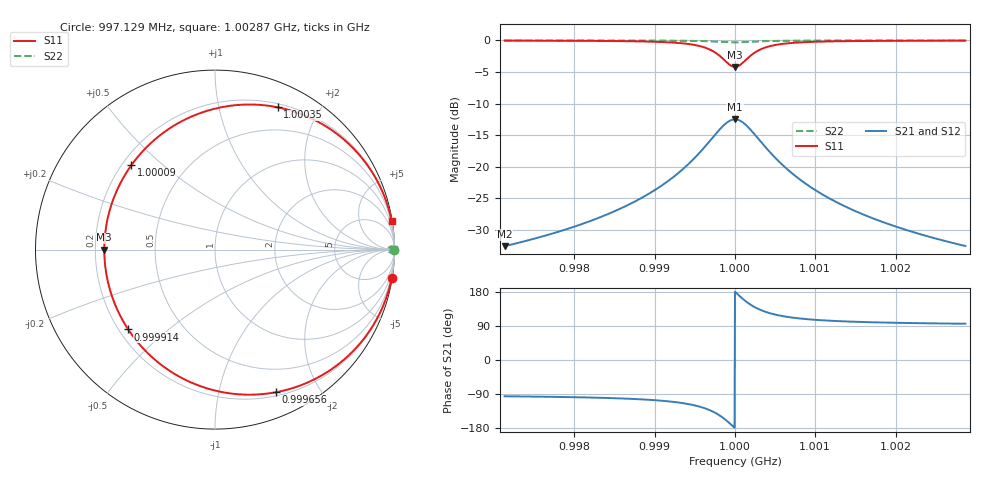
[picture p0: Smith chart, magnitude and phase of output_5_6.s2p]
! File generated for n1 = 5, n2 = 6
! b1 = 4.641589
! b2 = 0.100000
! Q0 = 10000.000000
! f0 = 1000000000.000000
! n = 1001
! rel_span = 10.000000
# Hz S RI R 50
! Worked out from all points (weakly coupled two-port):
!   1001 points, 997.129 MHz to 1.00287 GHz, reference 50 ohm
!   highest |S21| = -12.49 dB at 1 GHz (marker M1); lowest = -32.5 dB at 997.129 MHz (marker M2)
!   lowest |S11| = -4.2 dB at 1 GHz (marker M3), VSWR 4.22, Z = 11.8 + j0 ohm
!   |S11| at or under -10 dB: nowhere
!   |S22| runs from -0.3 to 0.0 dB; largest |S21 - S12| = 0
!   S11 on the Smith chart (normalised r, x): 997.129 MHz: 0, -12; 999.656 MHz: 0.24, -1.48; 999.914 MHz: 0.24, -0.37; 1.00009 GHz: 0.24, +0.40; 1.00035 GHz: 0.24, +1.51; 1.00287 GHz: 0, +12
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9.971292e8  0.984 -0.1599  -0.00234 -0.0235  -0.00234 -0.0235  0.9997 -0.00344
9.980881e8  0.9644 -0.2372  -0.00522 -0.0348  -0.00522 -0.0348  0.9992 -0.00511
9.986335e8  0.9317 -0.3251  -0.01 -0.0477  -0.01 -0.0477  0.9985 -0.007
9.990469e8  0.8656 -0.4463  -0.0197 -0.0655  -0.0197 -0.0655  0.9971 -0.00962
9.994144e8  0.6869 -0.6389  -0.046 -0.0938  -0.046 -0.0938  0.9933 -0.0138
9.995464e8  0.5377 -0.7306  -0.0679 -0.1072  -0.0679 -0.1072  0.99 -0.0157
9.996555e8  0.3375 -0.7951  -0.0972 -0.1167  -0.0972 -0.1167  0.9857 -0.0171
9.99799e8  -0.085 -0.7596  -0.1593 -0.1115  -0.1593 -0.1115  0.9766 -0.0164
9.998565e8  -0.2934 -0.6468  -0.1898 -0.0949  -0.1898 -0.0949  0.9721 -0.0139
9.999139e8  -0.4833 -0.445  -0.2177 -0.0653  -0.2177 -0.0653  0.968 -0.00959
1e9  -0.6168 0  -0.2373 0  -0.2373 0  0.9652 0
1.000046e9  -0.5765 0.2522  -0.2314 0.037  -0.2314 0.037  0.966 0.00543
1.000092e9  -0.4667 0.4693  -0.2153 0.0689  -0.2153 0.0689  0.9684 0.0101
1.000144e9  -0.2935 0.6467  -0.1899 0.0949  -0.1899 0.0949  0.9721 0.0139
1.000201e9  -0.0852 0.7596  -0.1593 0.1115  -0.1593 0.1115  0.9766 0.0164
1.000264e9  0.1242 0.8056  -0.1285 0.1182  -0.1285 0.1182  0.9811 0.0174
1.00035e9  0.3501 0.7927  -0.0954 0.1164  -0.0954 0.1164  0.986 0.0171
1.000459e9  0.5457 0.7267  -0.0667 0.1067  -0.0667 0.1067  0.9902 0.0157
1.000591e9  0.6915 0.6353  -0.0453 0.0932  -0.0453 0.0932  0.9934 0.0137
1.000959e9  0.8669 0.4444  -0.0195 0.0652  -0.0195 0.0652  0.9971 0.00958
1.001918e9  0.9645 0.237  -0.00521 0.0348  -0.00521 0.0348  0.9992 0.0051
1.002871e9  0.9839 0.1603  -0.00236 0.0235  -0.00236 0.0235  0.9997 0.00345
